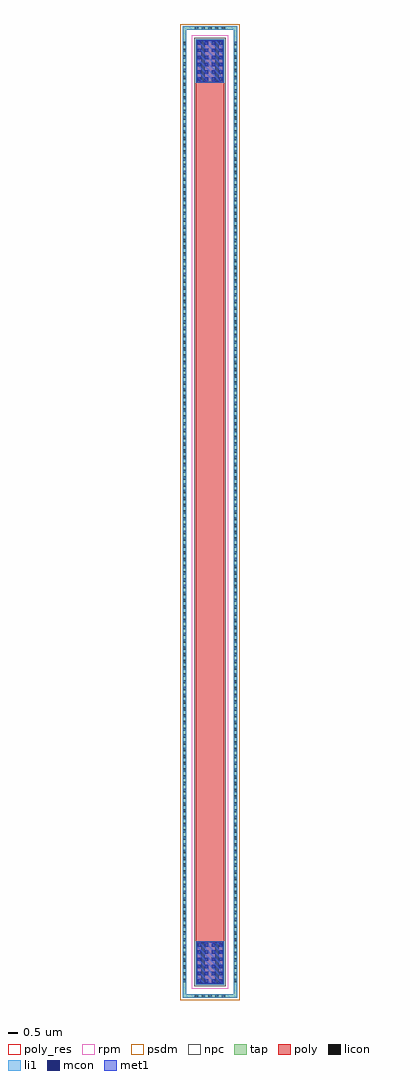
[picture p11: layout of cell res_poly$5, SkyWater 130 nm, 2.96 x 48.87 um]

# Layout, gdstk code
import gdstk
lib = gdstk.Library(unit=1e-6, precision=5e-09)
def R(c, l, rs):  # rectangles x0, y0, x1, y1
    for r in rs: c.add(gdstk.rectangle(r[:2], r[2:], *l))
def A(c, l, x, y, w, h, nx, ny, dx, dy):  # array of equal rectangles
    R(c, l, [(x+i*dx, y+j*dy, x+i*dx+w, y+j*dy+h) for i in range(nx) for j in range(ny)])
tap = (65, 44)
poly_res = (66, 13)
poly = (66, 20)
licon = (66, 44)
li1 = (67, 20)
mcon = (67, 44)
met1 = (68, 20)
rpm = (86, 20)
psdm = (94, 20)
npc = (95, 20)

res_poly_5 = lib.new_cell('res_poly$5')
R(res_poly_5, tap, [(-1.355,-24.31,1.355,-24.14), (-1.355,-24.14,-1.185,24.14), (1.185,-24.14,1.355,24.14), (-1.355,24.14,1.355,24.31)])
R(res_poly_5, poly_res, [(-0.705,-21.56,0.705,21.56)])
R(res_poly_5, poly, [(-0.705,-23.66,0.705,23.66)])
A(res_poly_5, licon, -0.765, -24.31, 0.17, 0.17, 5, 2, 0.34, 48.45)
A(res_poly_5, licon, -1.355, -23.545, 0.17, 0.17, 1, 139, 0, 0.34)
A(res_poly_5, licon, 1.185, -23.545, 0.17, 0.17, 1, 139, 0, 0.34)
R(res_poly_5, licon, [(-0.45,-23.58,-0.26,-21.58), (0.26,-23.58,0.45,-21.58), (-0.45,21.58,-0.26,23.58), (0.26,21.58,0.45,23.58)])
R(res_poly_5, li1, [(-1.355,-24.31,1.355,-24.14), (-1.355,-24.14,-1.185,24.14), (1.185,-24.14,1.355,24.14), (-0.705,-23.66,0.705,-21.5), (-0.705,21.5,0.705,23.66), (-1.355,24.14,1.355,24.31)])
A(res_poly_5, mcon, -0.625, -23.56, 0.17, 0.17, 4, 6, 0.36, 0.36)
A(res_poly_5, mcon, -0.625, 21.595, 0.17, 0.17, 4, 6, 0.36, 0.36)
R(res_poly_5, met1, [(-0.655,-23.63,0.655,-21.525), (-0.655,21.525,0.655,23.63)])
R(res_poly_5, rpm, [(-0.905,-23.86,0.905,23.86)])
R(res_poly_5, psdm, [(-1.48,-24.435,1.48,24.435)])
R(res_poly_5, npc, [(-0.8,-23.755,0.8,23.755)])

lib.write_gds('res_poly_5.gds')
